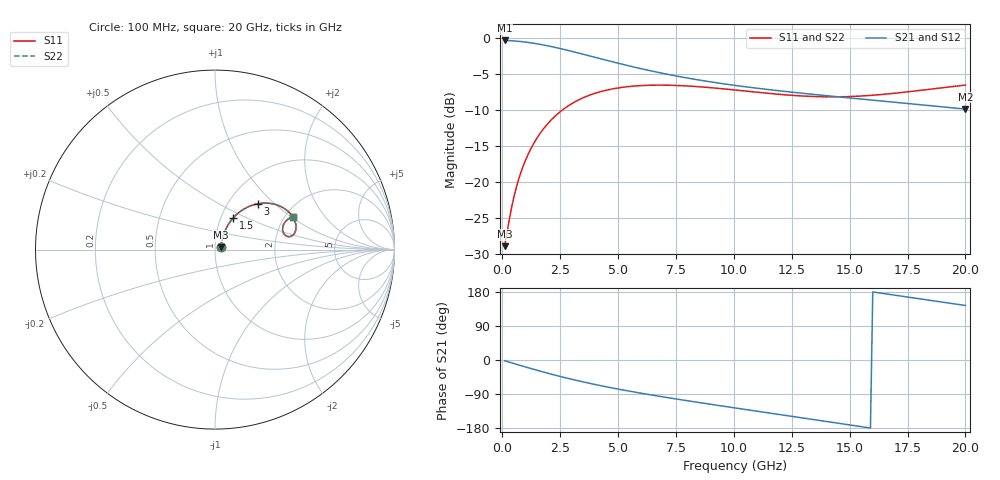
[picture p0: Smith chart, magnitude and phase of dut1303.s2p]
! Touchstone file exported from HFSS 2024.1.0
!  File:  C:/UserFiles/LocalFiles/RDL_TSV_Batchsim/temp_RDL_TSV_1303_1780382898.aedt
!  Generated:  03:01:46 PM Jun  2, 2026
!  Design:  RDL_TSV
!  Project:  temp_RDL_TSV_1303_1780382898
!  Setup:  Setup1
!  Solution:  Sweep
! Variables:
!  dtsv = 6.99um
!  hbump = 3um
!  htsv = 50.62um
!  ldown = 311.4um
!  lrdl = 616.13um
!  p = 40
!  p1 = 56.2um
!  rhole = 10um
!  subl = 3398.72um
!  t = 450um
!  tdown = 4.49um
!  trdl = 3.01um
!  viad = 10um
!  wdown = 17.19um
!  wrdl = 10um
!  xbump = 18um
# GHz S MA R 50.000000
! Terminal data exported
! Port[1] = TM1_1_T1
! Port[2] = TM1_4_T1
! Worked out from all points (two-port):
!   200 points, 100 MHz to 20 GHz, reference 50 ohm
!   highest |S21| = -0.29 dB at 100 MHz (marker M1); lowest = -9.8 dB at 20 GHz (marker M2)
!   |S21| within 3 dB of the highest: start of sweep to 4.79 GHz
!   lowest |S11| = -28.9 dB at 100 MHz (marker M3), VSWR 1.07, Z = 53.4 + j1.46 ohm
!   |S11| at or under -10 dB: start of sweep to 2.585 GHz
!   |S22| runs from -28.9 to -6.5 dB; largest |S21 - S12| = 8e-15
!   S11 on the Smith chart (normalised r, x): 100 MHz: 1.07, +0.03; 1.5 GHz: 1.14, +0.42; 3 GHz: 1.36, +0.80; 20 GHz: 2.21, +1.04
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0.1  0.03574 22.5  0.9671 -1.9  0.9671 -1.9  0.03574 22.5
! Gamma 0 0 0 0
! Port Impedance 50 0 50 0
0.4  0.06616 53.9  0.9625 -7.5  0.9625 -7.5  0.06616 53.9
0.5  0.07844 57.5  0.96 -9.3  0.96 -9.3  0.07844 57.5
0.7  0.1036 61.0  0.954 -13.0  0.954 -13.0  0.1036 61.0
0.9  0.1288 62.2  0.9466 -16.6  0.9466 -16.6  0.1288 62.2
1.1  0.1539 62.1  0.9379 -20.2  0.9379 -20.2  0.1539 62.1
1.5  0.2024 60.2  0.9169 -27.1  0.9169 -27.1  0.2024 60.2
2.2  0.2794 54.4  0.8713 -38.7  0.8713 -38.7  0.2794 54.4
3  0.3511 46.8  0.8122 -50.9  0.8122 -50.9  0.3512 46.8
3.5  0.3864 42.1  0.7746 -58.0  0.7746 -58.0  0.3864 42.1
4.2  0.4238 36.1  0.7241 -67.1  0.7241 -67.1  0.4239 36.1
5.1  0.4543 29.3  0.6653 -77.9  0.6653 -77.9  0.4544 29.3
5.9  0.4681 24.1  0.6198 -86.7  0.6198 -86.7  0.4683 24.1
6.8  0.4726 19.4  0.5763 -96.0  0.5763 -96.0  0.4728 19.4
8.3  0.4628 13.6  0.5191 -110.4  0.5191 -110.4  0.463 13.6
10.1  0.4364 10.2  0.4692 -127.0  0.4692 -127.0  0.4366 10.2
11.7  0.4112 10.2  0.4361 -141.4  0.4361 -141.4  0.4114 10.2
13.4  0.3939 12.9  0.4078 -156.8  0.4078 -156.8  0.394 12.9
15  0.3935 16.9  0.3847 -171.3  0.3847 -171.3  0.3935 16.8
16.7  0.4111 20.6  0.3622 173.3  0.3622 173.3  0.411 20.6
18.4  0.4413 22.7  0.3408 158.0  0.3408 158.0  0.441 22.6
20  0.473 22.8  0.322 144.0  0.322 144.0  0.4725 22.7
